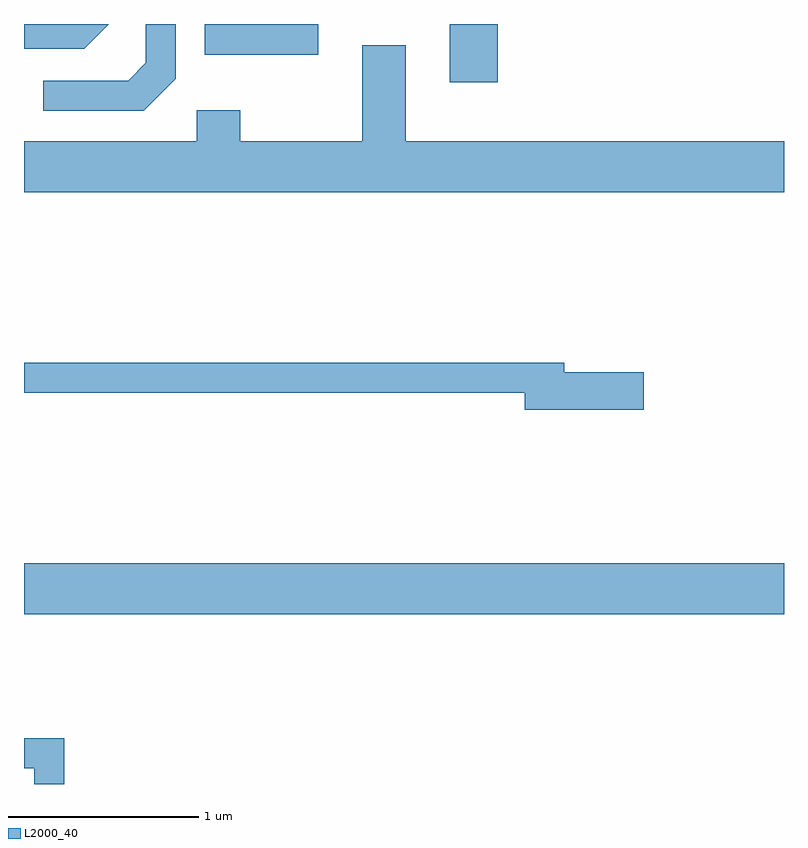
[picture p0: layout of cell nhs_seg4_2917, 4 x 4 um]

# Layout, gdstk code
import gdstk
lib = gdstk.Library(unit=1e-6, precision=1e-09)
def R(c, l, rs):  # rectangles x0, y0, x1, y1
    for r in rs: c.add(gdstk.rectangle(r[:2], r[2:], *l))
def P(c, l, *ps):  # polygons
    for p in ps: c.add(gdstk.Polygon(p, *l))
L2000_40 = (2000, 40)

nhs_seg4_2917 = lib.new_cell('nhs_seg4_2917')
R(nhs_seg4_2917, L2000_40, [(269.611,1376.876,273.611,1377.144), (271.851,1379.676,272.104,1379.982), (270.561,1379.821,271.159,1379.982)])
P(nhs_seg4_2917, L2000_40, [(270.409,1379.694),(270.409,1379.982),(270.251,1379.982),(270.251,1379.777),(270.159,1379.684),(269.713,1379.684),(269.713,1379.526),(270.242,1379.526)],
  [(270.057,1379.982),(269.611,1379.982),(269.611,1379.851),(269.927,1379.851)],
  [(273.611,1379.364),(271.619,1379.364),(271.619,1379.869),(271.391,1379.869),(271.391,1379.364),(270.749,1379.364),(270.749,1379.529),(270.521,1379.529),(270.521,1379.364),(269.611,1379.364),(269.611,1379.096),(273.611,1379.096)],
  [(272.874,1378.149),(272.454,1378.149),(272.454,1378.199),(269.611,1378.199),(269.611,1378.041),(272.246,1378.041),(272.246,1377.951),(272.874,1377.951)],
  [(269.824,1376.224),(269.611,1376.224),(269.611,1376.066),(269.666,1376.066),(269.666,1375.982),(269.824,1375.982)])

lib.write_gds('nhs_seg4_2917.gds')
